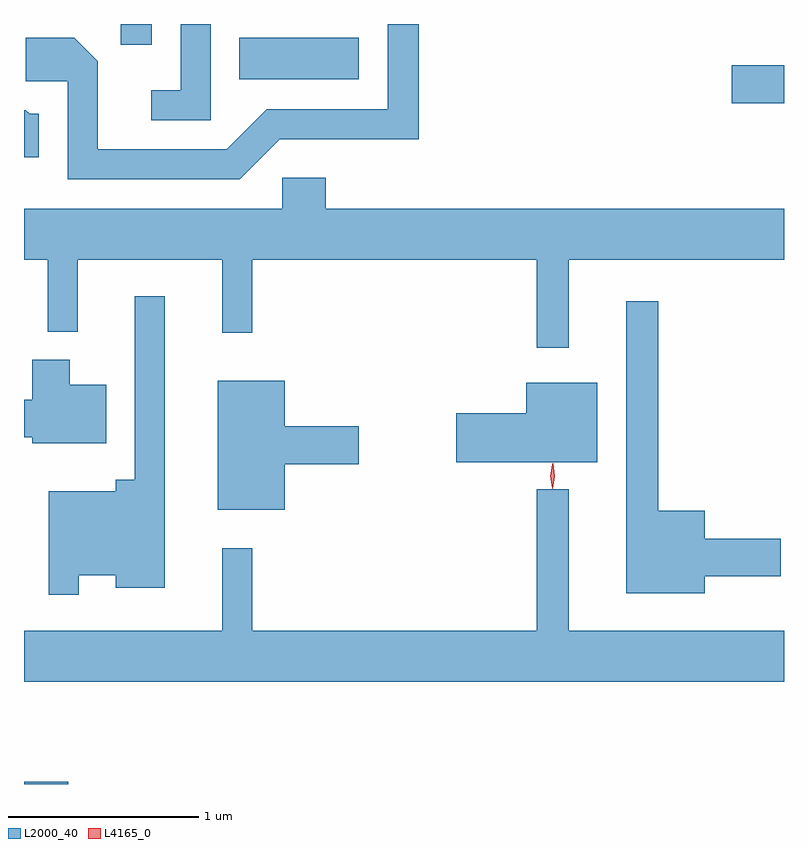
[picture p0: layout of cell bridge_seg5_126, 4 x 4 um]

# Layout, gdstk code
import gdstk
lib = gdstk.Library(unit=1e-6, precision=1e-09)
def R(c, l, rs):  # rectangles x0, y0, x1, y1
    for r in rs: c.add(gdstk.rectangle(r[:2], r[2:], *l))
def P(c, l, *ps):  # polygons
    for p in ps: c.add(gdstk.Polygon(p, *l))
L2000_40 = (2000, 40)
L4165_0 = (4165, 0)

bridge_seg5_126 = lib.new_cell('bridge_seg5_126')
R(bridge_seg5_126, L2000_40, [(1202.402,1398.537,1202.634,1398.549), (1206.126,1402.121,1206.402,1402.319), (1203.536,1402.246,1204.164,1402.464), (1202.911,1402.428,1203.074,1402.537)])
P(bridge_seg5_126, L2000_40, [(1203.384,1402.537),(1203.226,1402.537),(1203.226,1402.189),(1203.073,1402.189),(1203.073,1402.031),(1203.384,1402.031)],
  [(1203.747,1401.931),(1204.479,1401.931),(1204.479,1402.537),(1204.316,1402.537),(1204.316,1402.089),(1203.679,1402.089),(1203.469,1401.879),(1202.789,1401.879),(1202.789,1402.342),(1202.667,1402.464),(1202.411,1402.464),(1202.411,1402.236),(1202.631,1402.236),(1202.631,1401.721),(1203.537,1401.721)],
  [(1202.479,1402.064),(1202.432,1402.064),(1202.412,1402.084),(1202.402,1402.084),(1202.402,1401.836),(1202.479,1401.836)],
  [(1202.402,1401.296),(1202.526,1401.296),(1202.526,1400.918),(1202.684,1400.918),(1202.684,1401.296),(1203.446,1401.296),(1203.446,1400.913),(1203.604,1400.913),(1203.604,1401.296),(1205.101,1401.296),(1205.101,1400.833),(1205.269,1400.833),(1205.269,1401.296),(1206.402,1401.296),(1206.402,1401.564),(1203.989,1401.564),(1203.989,1401.729),(1203.761,1401.729),(1203.761,1401.564),(1202.402,1401.564)],
  [(1202.689,1399.636),(1202.886,1399.636),(1202.886,1399.571),(1203.144,1399.571),(1203.144,1401.103),(1202.986,1401.103),(1202.986,1400.139),(1202.886,1400.139),(1202.886,1400.079),(1202.531,1400.079),(1202.531,1399.533),(1202.689,1399.533)],
  [(1205.984,1399.631),(1206.384,1399.631),(1206.384,1399.829),(1205.984,1399.829),(1205.984,1399.974),(1205.739,1399.974),(1205.739,1401.078),(1205.571,1401.078),(1205.571,1399.541),(1205.984,1399.541)],
  [(1202.834,1400.639),(1202.644,1400.639),(1202.644,1400.769),(1202.446,1400.769),(1202.446,1400.559),(1202.402,1400.559),(1202.402,1400.361),(1202.446,1400.361),(1202.446,1400.331),(1202.834,1400.331)],
  [(1203.774,1400.221),(1204.164,1400.221),(1204.164,1400.419),(1203.774,1400.419),(1203.774,1400.659),(1203.421,1400.659),(1203.421,1399.981),(1203.774,1399.981)],
  [(1205.419,1400.649),(1205.046,1400.649),(1205.046,1400.489),(1204.676,1400.489),(1204.676,1400.231),(1205.419,1400.231)],
  [(1206.402,1399.344),(1205.269,1399.344),(1205.269,1400.088),(1205.101,1400.088),(1205.101,1399.344),(1203.604,1399.344),(1203.604,1399.778),(1203.446,1399.778),(1203.446,1399.344),(1202.402,1399.344),(1202.402,1399.076),(1206.402,1399.076)])
P(bridge_seg5_126, L4165_0, [(1205.184,1400.09),(1205.176,1400.158),(1205.186,1400.226),(1205.186,1400.226),(1205.187,1400.226),(1205.196,1400.158),(1205.186,1400.09),(1205.185,1400.09)],
  [(1205.182,1400.093),(1205.173,1400.156),(1205.182,1400.219),(1205.183,1400.22),(1205.184,1400.219),(1205.193,1400.156),(1205.184,1400.093),(1205.183,1400.093)])

lib.write_gds('bridge_seg5_126.gds')
